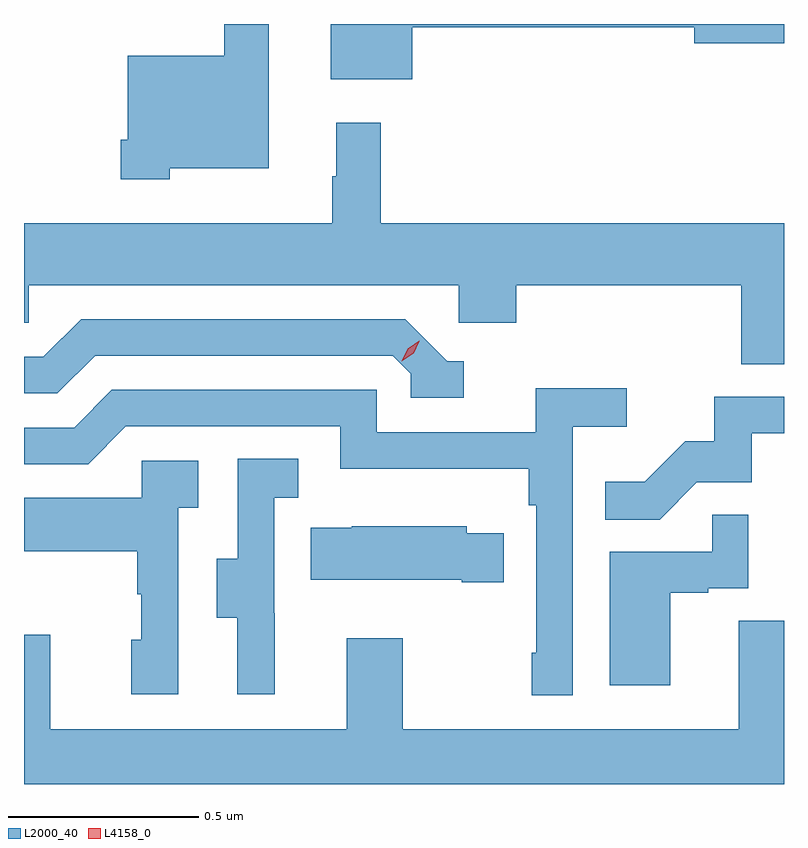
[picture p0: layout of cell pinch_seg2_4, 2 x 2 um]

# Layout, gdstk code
import gdstk
lib = gdstk.Library(unit=1e-6, precision=1e-09)
def P(c, l, *ps):  # polygons
    for p in ps: c.add(gdstk.Polygon(p, *l))
L2000_40 = (2000, 40)
L4158_0 = (4158, 0)

pinch_seg2_4 = lib.new_cell('pinch_seg2_4')
P(pinch_seg2_4, L2000_40, [(1121.449,661.265),(1121.71,661.265),(1121.71,661.644),(1121.593,661.644),(1121.593,661.561),(1121.339,661.561),(1121.339,661.339),(1121.32,661.339),(1121.32,661.235),(1121.449,661.235)],
  [(1122.088,661.636),(1122.83,661.636),(1122.83,661.594),(1123.066,661.594),(1123.066,661.644),(1121.873,661.644),(1121.873,661.499),(1122.088,661.499)],
  [(1123.066,661.12),(1122.005,661.12),(1122.005,661.384),(1121.888,661.384),(1121.888,661.244),(1121.877,661.244),(1121.877,661.12),(1121.066,661.12),(1121.066,660.858),(1121.079,660.858),(1121.079,660.956),(1122.21,660.956),(1122.21,660.858),(1122.362,660.858),(1122.362,660.956),(1122.953,660.956),(1122.953,660.748),(1123.066,660.748)],
  [(1122.223,660.756),(1122.18,660.756),(1122.069,660.867),(1121.216,660.867),(1121.117,660.768),(1121.066,660.768),(1121.066,660.672),(1121.154,660.672),(1121.253,660.771),(1122.036,660.771),(1122.084,660.723),(1122.084,660.66),(1122.223,660.66)],
  [(1122.51,660.584),(1122.652,660.584),(1122.652,660.686),(1122.413,660.686),(1122.413,660.57),(1121.994,660.57),(1121.994,660.681),(1121.297,660.681),(1121.198,660.582),(1121.066,660.582),(1121.066,660.486),(1121.235,660.486),(1121.334,660.585),(1121.898,660.585),(1121.898,660.473),(1122.394,660.473),(1122.394,660.377),(1122.414,660.377),(1122.414,659.989),(1122.402,659.989),(1122.402,659.877),(1122.51,659.877)],
  [(1122.837,660.438),(1122.981,660.438),(1122.981,660.567),(1123.066,660.567),(1123.066,660.663),(1122.883,660.663),(1122.883,660.546),(1122.806,660.546),(1122.699,660.439),(1122.595,660.439),(1122.595,660.34),(1122.739,660.34)],
  [(1121.726,660.093),(1121.724,660.093),(1121.724,660.397),(1121.788,660.397),(1121.788,660.5),(1121.628,660.5),(1121.628,660.237),(1121.573,660.237),(1121.573,660.082),(1121.627,660.082),(1121.627,659.88),(1121.726,659.88)],
  [(1121.472,660.371),(1121.524,660.371),(1121.524,660.495),(1121.376,660.495),(1121.376,660.397),(1121.066,660.397),(1121.066,660.257),(1121.364,660.257),(1121.364,660.143),(1121.374,660.143),(1121.374,660.024),(1121.348,660.024),(1121.348,659.88),(1121.472,659.88)],
  [(1122.766,660.147),(1122.866,660.147),(1122.866,660.159),(1122.972,660.159),(1122.972,660.353),(1122.877,660.353),(1122.877,660.255),(1122.608,660.255),(1122.608,659.904),(1122.766,659.904)],
  [(1122.329,660.304),(1122.231,660.304),(1122.231,660.322),(1121.929,660.322),(1121.929,660.319),(1121.821,660.319),(1121.821,660.182),(1122.218,660.182),(1122.218,660.175),(1122.329,660.175)],
  [(1121.135,660.037),(1121.066,660.037),(1121.066,659.644),(1123.066,659.644),(1123.066,660.074),(1122.947,660.074),(1122.947,659.788),(1122.063,659.788),(1122.063,660.028),(1121.915,660.028),(1121.915,659.788),(1121.135,659.788)])
P(pinch_seg2_4, L4158_0, [(1122.06,660.757),(1122.06,660.758),(1122.076,660.79),(1122.106,660.81),(1122.106,660.81),(1122.106,660.809),(1122.091,660.777),(1122.06,660.757)])

lib.write_gds('pinch_seg2_4.gds')
